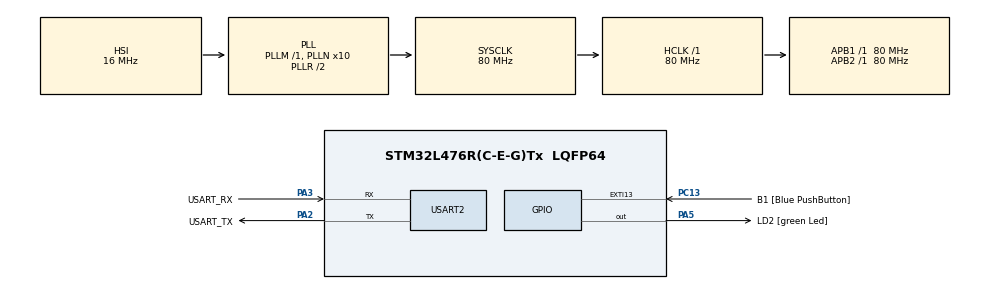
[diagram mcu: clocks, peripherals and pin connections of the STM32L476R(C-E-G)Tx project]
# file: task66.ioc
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Mcu.Family=STM32L4
Mcu.Name=STM32L476R(C-E-G)Tx
Mcu.Package=LQFP64
NVIC.EXTI15_10_IRQn=true\:0\:0\:false\:false\:true\:true\:true\:true
NVIC.PriorityGroup=NVIC_PRIORITYGROUP_4
NVIC.TIM6_DAC_IRQn=true\:0\:0\:false\:false\:true\:true\:true\:true
PA13\ (JTMS-SWDIO).GPIO_Label=TMS
PA13\ (JTMS-SWDIO).Mode=Serial_Wire
PA13\ (JTMS-SWDIO).Signal=SYS_JTMS-SWDIO
PA14\ (JTCK-SWCLK).GPIO_Label=TCK
PA14\ (JTCK-SWCLK).Mode=Serial_Wire
PA14\ (JTCK-SWCLK).Signal=SYS_JTCK-SWCLK
PA2.GPIO_Label=USART_TX
PA2.GPIO_Mode=GPIO_MODE_AF_PP
PA2.GPIO_PuPd=GPIO_NOPULL
PA2.GPIO_Speed=GPIO_SPEED_FREQ_VERY_HIGH
PA2.Mode=Asynchronous
PA2.Signal=USART2_TX
PA3.GPIO_Label=USART_RX
PA3.GPIO_Mode=GPIO_MODE_AF_PP
PA3.GPIO_PuPd=GPIO_NOPULL
PA3.GPIO_Speed=GPIO_SPEED_FREQ_VERY_HIGH
PA3.Mode=Asynchronous
PA3.Signal=USART2_RX
PA5.GPIO_Label=LD2 [green Led]
PA5.GPIO_ModeDefaultOutputPP=GPIO_MODE_OUTPUT_PP
PA5.GPIO_PuPd=GPIO_NOPULL
PA5.GPIO_Speed=GPIO_SPEED_FREQ_LOW
PA5.Signal=GPIO_Output
PB3\ (JTDO-TRACESWO).GPIO_Label=SWO
PB3\ (JTDO-TRACESWO).Signal=SYS_JTDO-SWO
PC13.GPIO_Label=B1 [Blue PushButton]
PC13.GPIO_ModeDefaultEXTI=GPIO_MODE_IT_FALLING
PC13.GPIO_PuPd=GPIO_NOPULL
PC13.Signal=GPXTI13
PC14-OSC32_IN\ (PC14).Mode=LSE-External-Oscillator
PC14-OSC32_IN\ (PC14).Signal=RCC_OSC32_IN
PC15-OSC32_OUT\ (PC15).Mode=LSE-External-Oscillator
PC15-OSC32_OUT\ (PC15).Signal=RCC_OSC32_OUT
PH0-OSC_IN\ (PH0).Signal=RCC_OSC_IN
PH1-OSC_OUT\ (PH1).Signal=RCC_OSC_OUT
ProjectManager.HeapSize=0x200
ProjectManager.StackSize=0x400
ProjectManager.TargetToolchain=STM32CubeIDE
RCC.ADCFreq_Value=64000000
RCC.AHBFreq_Value=80000000
RCC.APB1Freq_Value=80000000
RCC.APB1TimFreq_Value=80000000
RCC.APB2Freq_Value=80000000
RCC.APB2TimFreq_Value=80000000
RCC.CortexFreq_Value=80000000
RCC.HCLKFreq_Value=80000000
RCC.HSE_VALUE=8000000
RCC.HSI_VALUE=16000000
RCC.MSI_VALUE=4000000
RCC.PLLN=10
RCC.PLLSourceVirtual=RCC_PLLSOURCE_HSI
RCC.PREFETCH_ENABLE=1
RCC.SYSCLKFreq_VALUE=80000000
RCC.SYSCLKSource=RCC_SYSCLKSOURCE_PLLCLK
RCC.USBFreq_Value=64000000
RCC.VCOOutputFreq_Value=160000000
TIM6.Period=4999
TIM6.Prescaler=7999
USART2.VirtualMode-Asynchronous=VM_ASYNC
VP_TIM6_VS_ClockSourceINT.Mode=Enable_Timer
board=NUCLEO-L476RG

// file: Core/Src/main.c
/* USER CODE BEGIN Header */
/**
  ******************************************************************************
  * @file           : main.c
  * @brief          : Main program body
  ******************************************************************************
  * @attention
  *
  * Copyright (c) 2022 STMicroelectronics.
  * All rights reserved.
  *
  * This software is licensed under terms that can be found in the LICENSE file
  * in the root directory of this software component.
  * If no LICENSE file comes with this software, it is provided AS-IS.
  *
  ******************************************************************************
  */
/* USER CODE END Header */
#include "main.h"

/* USER CODE BEGIN Includes */
#include <stdio.h>
#include <string.h>
/* USER CODE END Includes */

 TIM_HandleTypeDef htim6;

UART_HandleTypeDef huart2;

void SystemClock_Config(void);
static void MX_GPIO_Init(void);
static void MX_USART2_UART_Init(void);
static void MX_TIM6_Init(void);

/* USER CODE BEGIN 0 */

/////////////////////////////////////////////////////////////////////////
// REdirecting printf to UART
/////////////////////////////////////////////////////////////////////////
int _write(int fd, char* ptr, int len)
{
    HAL_UART_Transmit(&huart2, (uint8_t *) ptr, len, HAL_MAX_DELAY);
    return len;
}

void HAL_TIM_PeriodElapsedCallback(TIM_HandleTypeDef * htim)
{

    static  uint32_t temp = 0;
    static  uint32_t distance = 0;
	static  uint32_t countGetTick = 0;

	countGetTick = HAL_GetTick();
    distance= countGetTick-temp;
    temp= countGetTick;
    printf ("countGetTick= %ld distance=%ld \n\r" ,countGetTick ,distance );
}

/* USER CODE END 0 */

int main(void)
{

  /* MCU Configuration--------------------------------------------------------*/

  /* Reset of all peripherals, Initializes the Flash interface and the Systick. */
  HAL_Init();

  /* Configure the system clock */
  SystemClock_Config();

  /* Initialize all configured peripherals */
  MX_GPIO_Init();
  MX_USART2_UART_Init();
  MX_TIM6_Init();
  /* USER CODE BEGIN 2 */
  HAL_NVIC_EnableIRQ(TIM6_IRQn);
  HAL_TIM_Base_Start_IT(&htim6);
  __HAL_TIM_SET_COUNTER(&htim6,0);
  /* USER CODE END 2 */

  /* Infinite loop */
  while (1)
  {

    /* USER CODE BEGIN 3 */

	/*  static  uint32_t counter = 0;
	  static  uint32_t temp = 0;
	  static  uint32_t distance = 0;
	  static  uint32_t countGetTick = 0;

	  counter++;
	  if (counter == 10000000)
	  	  {
	  		  countGetTick = HAL_GetTick();
	  		  distance= countGetTick-temp;
	  		  temp= countGetTick;
	  		  printf ("countGetTick= %ld distance=%ld \n\r" ,countGetTick ,distance );
	  		  counter=0;
	  	  }
   */
  }
  /* USER CODE END 3 */
}

void SystemClock_Config(void)
{
  RCC_OscInitTypeDef RCC_OscInitStruct = {0};
  RCC_ClkInitTypeDef RCC_ClkInitStruct = {0};

  /** Configure the main internal regulator output voltage
  */
  if (HAL_PWREx_ControlVoltageScaling(PWR_REGULATOR_VOLTAGE_SCALE1) != HAL_OK)
  {
    Error_Handler();
  }

  /** Initializes the RCC Oscillators according to the specified parameters
  * in the RCC_OscInitTypeDef structure.
  */
  RCC_OscInitStruct.OscillatorType = RCC_OSCILLATORTYPE_HSI;
  RCC_OscInitStruct.HSIState = RCC_HSI_ON;
  RCC_OscInitStruct.HSICalibrationValue = RCC_HSICALIBRATION_DEFAULT;
  RCC_OscInitStruct.PLL.PLLState = RCC_PLL_ON;
  RCC_OscInitStruct.PLL.PLLSource = RCC_PLLSOURCE_HSI;
  RCC_OscInitStruct.PLL.PLLM = 1;
  RCC_OscInitStruct.PLL.PLLN = 10;
  RCC_OscInitStruct.PLL.PLLP = RCC_PLLP_DIV7;
  RCC_OscInitStruct.PLL.PLLQ = RCC_PLLQ_DIV2;
  RCC_OscInitStruct.PLL.PLLR = RCC_PLLR_DIV2;
  if (HAL_RCC_OscConfig(&RCC_OscInitStruct) != HAL_OK)
  {
    Error_Handler();
  }

  /** Initializes the CPU, AHB and APB buses clocks
  */
  RCC_ClkInitStruct.ClockType = RCC_CLOCKTYPE_HCLK|RCC_CLOCKTYPE_SYSCLK
                              |RCC_CLOCKTYPE_PCLK1|RCC_CLOCKTYPE_PCLK2;
  RCC_ClkInitStruct.SYSCLKSource = RCC_SYSCLKSOURCE_PLLCLK;
  RCC_ClkInitStruct.AHBCLKDivider = RCC_SYSCLK_DIV1;
  RCC_ClkInitStruct.APB1CLKDivider = RCC_HCLK_DIV1;
  RCC_ClkInitStruct.APB2CLKDivider = RCC_HCLK_DIV1;

  if (HAL_RCC_ClockConfig(&RCC_ClkInitStruct, FLASH_LATENCY_4) != HAL_OK)
  {
    Error_Handler();
  }
}

static void MX_TIM6_Init(void)
{

  TIM_MasterConfigTypeDef sMasterConfig = {0};

  htim6.Instance = TIM6;
  htim6.Init.Prescaler = 7999;
  htim6.Init.CounterMode = TIM_COUNTERMODE_UP;
  htim6.Init.Period = 4999;
  htim6.Init.AutoReloadPreload = TIM_AUTORELOAD_PRELOAD_DISABLE;
  if (HAL_TIM_Base_Init(&htim6) != HAL_OK)
  {
    Error_Handler();
  }
  sMasterConfig.MasterOutputTrigger = TIM_TRGO_RESET;
  sMasterConfig.MasterSlaveMode = TIM_MASTERSLAVEMODE_DISABLE;
  if (HAL_TIMEx_MasterConfigSynchronization(&htim6, &sMasterConfig) != HAL_OK)
  {
    Error_Handler();
  }

}

static void MX_USART2_UART_Init(void)
{

  huart2.Instance = USART2;
  huart2.Init.BaudRate = 115200;
  huart2.Init.WordLength = UART_WORDLENGTH_8B;
  huart2.Init.StopBits = UART_STOPBITS_1;
  huart2.Init.Parity = UART_PARITY_NONE;
  huart2.Init.Mode = UART_MODE_TX_RX;
  huart2.Init.HwFlowCtl = UART_HWCONTROL_NONE;
  huart2.Init.OverSampling = UART_OVERSAMPLING_16;
  huart2.Init.OneBitSampling = UART_ONE_BIT_SAMPLE_DISABLE;
  huart2.AdvancedInit.AdvFeatureInit = UART_ADVFEATURE_NO_INIT;
  if (HAL_UART_Init(&huart2) != HAL_OK)
  {
    Error_Handler();
  }

}

static void MX_GPIO_Init(void)
{
  GPIO_InitTypeDef GPIO_InitStruct = {0};

  /* GPIO Ports Clock Enable */
  __HAL_RCC_GPIOC_CLK_ENABLE();
  __HAL_RCC_GPIOH_CLK_ENABLE();
  __HAL_RCC_GPIOA_CLK_ENABLE();
  __HAL_RCC_GPIOB_CLK_ENABLE();

  /*Configure GPIO pin Output Level */
  HAL_GPIO_WritePin(LD2_GPIO_Port, LD2_Pin, GPIO_PIN_RESET);

  /*Configure GPIO pin : B1_Pin */
  GPIO_InitStruct.Pin = B1_Pin;
  GPIO_InitStruct.Mode = GPIO_MODE_IT_FALLING;
  GPIO_InitStruct.Pull = GPIO_NOPULL;
  HAL_GPIO_Init(B1_GPIO_Port, &GPIO_InitStruct);

  /*Configure GPIO pin : LD2_Pin */
  GPIO_InitStruct.Pin = LD2_Pin;
  GPIO_InitStruct.Mode = GPIO_MODE_OUTPUT_PP;
  GPIO_InitStruct.Pull = GPIO_NOPULL;
  GPIO_InitStruct.Speed = GPIO_SPEED_FREQ_LOW;
  HAL_GPIO_Init(LD2_GPIO_Port, &GPIO_InitStruct);

  /* EXTI interrupt init*/
  HAL_NVIC_SetPriority(EXTI15_10_IRQn, 0, 0);
  HAL_NVIC_EnableIRQ(EXTI15_10_IRQn);

}

void Error_Handler(void)
{
  __disable_irq();
  while (1)
  {
  }
}
